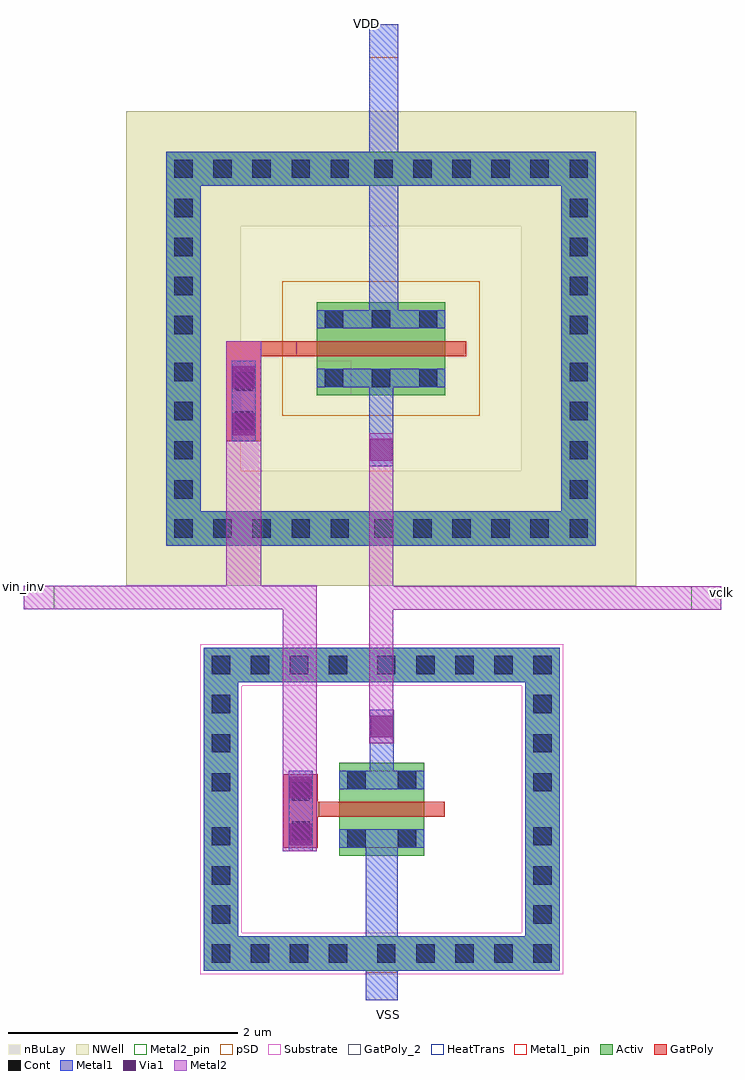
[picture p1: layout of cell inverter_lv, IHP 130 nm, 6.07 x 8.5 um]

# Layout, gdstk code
from math import pi, radians
import gdstk
lib = gdstk.Library(unit=1e-6, precision=5e-09)
def R(c, l, rs):  # rectangles x0, y0, x1, y1
    for r in rs: c.add(gdstk.rectangle(r[:2], r[2:], *l))
def A(c, l, x, y, w, h, nx, ny, dx, dy):  # array of equal rectangles
    R(c, l, [(x+i*dx, y+j*dy, x+i*dx+w, y+j*dy+h) for i in range(nx) for j in range(ny)])
def P(c, l, *ps):  # polygons
    for p in ps: c.add(gdstk.Polygon(p, *l))
Activ = (1, 0)
GatPoly = (5, 0)
GatPoly_2 = (5, 2)
Cont = (6, 0)
Metal1 = (8, 0)
Metal1_pin = (8, 2)
Metal2 = (10, 0)
Metal2_pin = (10, 2)
pSD = (14, 0)
Via1 = (19, 0)
NWell = (31, 0)
nBuLay = (32, 0)
Substrate = (40, 0)
HeatTrans = (51, 0)

pmos_1 = lib.new_cell('pmos$1')
R(pmos_1, Activ, [(-1.31,-1.01,-1.01,2.13), (1.82,-1.01,2.12,2.13), (0,0,0.3,0.3), (0,0,0.81,1.12), (0.51,0,0.81,0.3), (-1.31,2.13,2.12,2.43)])
P(pmos_1, Activ, [(-1.31,-1.31),(-1.31,2.13),(-1.01,2.13),(-1.01,-1.01),(1.82,-1.01),(1.82,2.13),(-1.31,2.13),(-1.31,2.43),(2.12,2.43),(2.12,-1.31)])
R(pmos_1, GatPoly, [(0.34,-0.18,0.47,1.3), (0.34,-0.18,0.47,1.3)])
A(pmos_1, Cont, -1.24, -1.24, 0.16, 0.16, 5, 2, 0.34, 3.44)
A(pmos_1, Cont, 0.53, -1.24, 0.16, 0.16, 5, 2, 0.34, 3.44)
A(pmos_1, Cont, -1.24, -0.9, 0.16, 0.16, 1, 4, 0, 0.34)
A(pmos_1, Cont, 1.89, -0.9, 0.16, 0.16, 1, 4, 0, 0.34)
A(pmos_1, Cont, 0.07, 0.07, 0.16, 0.16, 1, 3, 0, 0.41)
A(pmos_1, Cont, 0.58, 0.07, 0.16, 0.16, 1, 3, 0, 0.41)
A(pmos_1, Cont, -1.24, 0.5, 0.16, 0.16, 1, 5, 0, 0.34)
A(pmos_1, Cont, 1.89, 0.5, 0.16, 0.16, 1, 5, 0, 0.34)
R(pmos_1, Metal1, [(-1.31,-1.31,2.12,-1.01), (-1.31,-1.01,-1.01,2.13), (1.82,-1.01,2.12,2.13), (0.07,0,0.23,1.12), (0.07,0,0.23,1.12), (0.58,0,0.74,1.12), (0.58,0,0.74,1.12), (-1.31,2.13,2.12,2.43)])
R(pmos_1, pSD, [(-0.18,-0.3,0.99,1.42)])
R(pmos_1, NWell, [(-1.66,-1.66,2.47,2.78), (-0.31,-0.31,1.12,1.43)])
R(pmos_1, nBuLay, [(-1.66,-0.66,-0.66,1.78), (1.47,-0.66,2.47,1.78), (-1.66,1.78,2.47,2.78)])
P(pmos_1, nBuLay, [(-1.66,-1.66),(-1.66,1.78),(-0.66,1.78),(-0.66,-0.66),(1.47,-0.66),(1.47,1.78),(-1.66,1.78),(-1.66,2.78),(2.47,2.78),(2.47,-1.66)])
R(pmos_1, Substrate, [(0.51,0,0.81,0.3)])
R(pmos_1, HeatTrans, [(0.34,-0.18,0.47,1.3)])
pmos_1.add(gdstk.Label('pmos', (0.405,0.56), layer=63, texttype=0))
pmos_1.add(gdstk.Label('well', (0.405,-1.16), layer=63, texttype=0))
pmos_1.add(gdstk.Label('pmos', (0.405,0.56), layer=51, texttype=0))

via_stack = lib.new_cell('via_stack')
R(via_stack, Metal1, [(-0.145,-0.105,0.145,0.105)])
R(via_stack, Metal2, [(-0.145,-0.1,0.145,0.1)])
R(via_stack, Via1, [(-0.095,-0.095,0.095,0.095)])

nmos_1 = lib.new_cell('nmos$1')
R(nmos_1, Activ, [(-1,-0.88,-0.7,1.62), (1.51,-0.88,1.81,1.62), (0,0,0.3,0.3), (0,0,0.81,0.74), (0.51,0,0.81,0.3), (-1,1.62,1.81,1.92)])
P(nmos_1, Activ, [(-1,-1.18),(-1,1.62),(-0.7,1.62),(-0.7,-0.88),(1.51,-0.88),(1.51,1.62),(-1,1.62),(-1,1.92),(1.81,1.92),(1.81,-1.18)])
R(nmos_1, GatPoly, [(0.34,-0.18,0.47,0.92)])
R(nmos_1, GatPoly_2, [(0.34,-0.18,0.47,0.92)])
A(nmos_1, Cont, -0.93, -1.11, 0.16, 0.16, 4, 2, 0.34, 2.8)
A(nmos_1, Cont, 0.56, -1.11, 0.16, 0.16, 4, 2, 0.34, 2.8)
A(nmos_1, Cont, -0.93, -0.77, 0.16, 0.16, 1, 3, 0, 0.34)
A(nmos_1, Cont, 1.58, -0.77, 0.16, 0.16, 1, 3, 0, 0.34)
A(nmos_1, Cont, -0.93, 0.33, 0.16, 0.16, 1, 4, 0, 0.34)
A(nmos_1, Cont, 1.58, 0.33, 0.16, 0.16, 1, 4, 0, 0.34)
R(nmos_1, Cont, [(0.07,0.07,0.23,0.23), (0.58,0.07,0.74,0.23), (0.07,0.51,0.23,0.67), (0.58,0.51,0.74,0.67)])
R(nmos_1, Metal1, [(-1,-1.18,1.81,-0.88), (-1,-0.88,-0.7,1.62), (1.51,-0.88,1.81,1.62), (0.07,0,0.23,0.74), (0.58,0,0.74,0.74), (-1,1.62,1.81,1.92)])
R(nmos_1, Metal1_pin, [(0.07,0,0.23,0.74), (0.58,0,0.74,0.74)])
R(nmos_1, pSD, [(-1.03,-0.85,-0.67,1.59), (1.48,-0.85,1.84,1.59), (-1.03,1.59,1.84,1.95)])
P(nmos_1, pSD, [(-1.03,-1.21),(-1.03,1.59),(-0.67,1.59),(-0.67,-0.85),(1.48,-0.85),(1.48,1.59),(-1.03,1.59),(-1.03,1.95),(1.84,1.95),(1.84,-1.21)])
R(nmos_1, Substrate, [(-1.03,-0.85,-0.67,1.59), (1.48,-0.85,1.84,1.59), (-1.03,1.59,1.84,1.95)])
P(nmos_1, Substrate, [(-1.03,-1.21),(-1.03,1.59),(-0.67,1.59),(-0.67,-0.85),(1.48,-0.85),(1.48,1.59),(-1.03,1.59),(-1.03,1.95),(1.84,1.95),(1.84,-1.21)])
R(nmos_1, HeatTrans, [(0.34,-0.18,0.47,0.92)])
nmos_1.add(gdstk.Label('nmos', (0.405,0.37), layer=63, texttype=0))
nmos_1.add(gdstk.Label('sub!', (0.405,-1.03), layer=63, texttype=0))
nmos_1.add(gdstk.Label('nmos', (0.405,0.37), layer=51, texttype=0))

via_stack_1 = lib.new_cell('via_stack$1')
R(via_stack_1, GatPoly, [(-0.15,-0.32,0.15,0.32)])
R(via_stack_1, Cont, [(-0.08,-0.25,0.08,-0.09), (-0.08,0.09,0.08,0.25)])
R(via_stack_1, Metal1, [(-0.105,-0.35,0.105,0.35)])
R(via_stack_1, Metal2, [(-0.1,-0.35,0.1,0.35)])
R(via_stack_1, Via1, [(-0.095,-0.3,0.095,-0.11), (-0.095,0.11,0.095,0.3)])

inverter_lv = lib.new_cell('inverter_lv')
R(inverter_lv, GatPoly, [(5.03,3.995,5.34,4.125), (4.44,7.265,4.745,8.135), (4.44,8.005,5.175,8.135)])
R(inverter_lv, Metal1, [(5.655,2.4,5.935,3.31), (5.655,3.01,5.935,3.885), (5.69,4.235,5.9,4.925), (5.685,7.045,5.895,7.895), (5.685,8.245,5.94,10.895)])
R(inverter_lv, Metal1_pin, [(5.655,2.4,5.935,2.64), (5.685,10.6,5.94,10.895)])
R(inverter_lv, Metal2, [(4.935,3.695,5.23,6.005), (5.685,4.635,5.895,7.335), (5.685,5.795,8.75,6), (2.68,5.8,5.23,6.005), (4.44,5.8,4.745,8.135)])
R(inverter_lv, Metal2_pin, [(8.49,5.795,8.75,6), (2.68,5.8,2.945,6.005)])
inverter_lv.add(gdstk.Reference(pmos_1, (5.23,8.475), rotation=3*pi/2))
inverter_lv.add(gdstk.Reference(via_stack, (5.795,4.78), rotation=3*pi/2))
inverter_lv.add(gdstk.Reference(via_stack, (5.79,7.19), rotation=3*pi/2))
inverter_lv.add(gdstk.Reference(nmos_1, (5.425,4.465), rotation=3*pi/2))
inverter_lv.add(gdstk.Reference(via_stack_1, (5.09,4.045)))
inverter_lv.add(gdstk.Reference(via_stack_1, (4.595,7.615)))
inverter_lv.add(gdstk.Label('VDD', (5.665,10.9), layer=8, texttype=2))
inverter_lv.add(gdstk.Label('VSS', (5.855,2.27), layer=8, texttype=2))
inverter_lv.add(gdstk.Label('vclk', (8.755,5.945), layer=10, texttype=2))
inverter_lv.add(gdstk.Label('vin_inv', (2.66,5.995), layer=10, texttype=2))

lib.write_gds('inverter_lv.gds')
